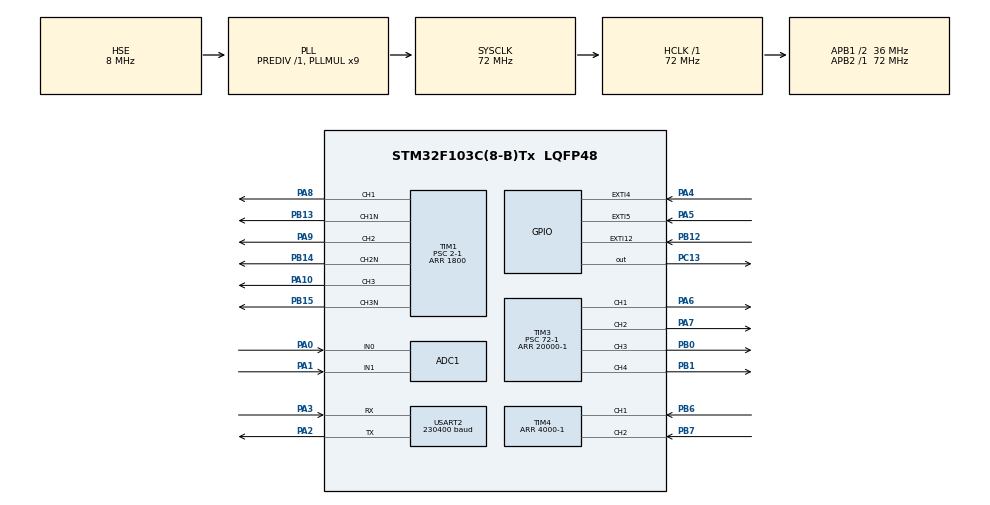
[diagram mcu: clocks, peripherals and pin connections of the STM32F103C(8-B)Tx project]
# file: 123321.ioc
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ADC1.Channel-0\#ChannelRegularConversion=ADC_CHANNEL_0
ADC1.Channel-1\#ChannelRegularConversion=ADC_CHANNEL_1
ADC1.DiscontinuousConvMode=ENABLE
ADC1.NbrOfConversion=2
ADC1.NbrOfConversionFlag=1
ADC1.Rank-0\#ChannelRegularConversion=1
ADC1.Rank-1\#ChannelRegularConversion=2
ADC1.SamplingTime-0\#ChannelRegularConversion=ADC_SAMPLETIME_239CYCLES_5
ADC1.SamplingTime-1\#ChannelRegularConversion=ADC_SAMPLETIME_239CYCLES_5
ADC1.master=1
Mcu.Family=STM32F1
Mcu.Name=STM32F103C(8-B)Tx
Mcu.Package=LQFP48
NVIC.EXTI15_10_IRQn=true\:0\:0\:false\:false\:true\:true\:true\:true
NVIC.EXTI4_IRQn=true\:0\:0\:false\:false\:true\:true\:true\:true
NVIC.EXTI9_5_IRQn=true\:0\:0\:false\:false\:true\:true\:true\:true
NVIC.PriorityGroup=NVIC_PRIORITYGROUP_4
NVIC.TIM2_IRQn=true\:0\:0\:false\:false\:true\:true\:true\:true
NVIC.TIM4_IRQn=true\:5\:0\:true\:false\:true\:true\:true\:true
NVIC.USART2_IRQn=true\:0\:0\:false\:false\:true\:true\:true\:true
PA0-WKUP.Signal=ADCx_IN0
PA1.Signal=ADCx_IN1
PA10.Signal=S_TIM1_CH3
PA13.Mode=Serial_Wire
PA13.Signal=SYS_JTMS-SWDIO
PA14.Mode=Serial_Wire
PA14.Signal=SYS_JTCK-SWCLK
PA2.Mode=Asynchronous
PA2.Signal=USART2_TX
PA3.Mode=Asynchronous
PA3.Signal=USART2_RX
PA4.GPIO_PuPd=GPIO_PULLUP
PA4.Signal=GPXTI4
PA5.GPIO_PuPd=GPIO_PULLUP
PA5.Signal=GPXTI5
PA6.Signal=S_TIM3_CH1
PA7.Signal=S_TIM3_CH2
PA8.Signal=S_TIM1_CH1
PA9.Signal=S_TIM1_CH2
PB0.Signal=S_TIM3_CH3
PB1.Signal=S_TIM3_CH4
PB12.GPIO_PuPd=GPIO_PULLUP
PB12.Signal=GPXTI12
PB13.Mode=PWM Generation1 CH1 CH1N
PB13.Signal=TIM1_CH1N
PB14.Mode=PWM Generation2 CH2 CH2N
PB14.Signal=TIM1_CH2N
PB15.Mode=PWM Generation3 CH3 CH3N
PB15.Signal=TIM1_CH3N
PB6.Signal=S_TIM4_CH1
PB7.Signal=S_TIM4_CH2
PC13-TAMPER-RTC.GPIO_Speed=GPIO_SPEED_FREQ_LOW
PC13-TAMPER-RTC.Signal=GPIO_Output
PC14-OSC32_IN.Mode=LSE-External-Oscillator
PC14-OSC32_IN.Signal=RCC_OSC32_IN
PC15-OSC32_OUT.Mode=LSE-External-Oscillator
PC15-OSC32_OUT.Signal=RCC_OSC32_OUT
PD0-OSC_IN.Mode=HSE-External-Oscillator
PD0-OSC_IN.Signal=RCC_OSC_IN
PD1-OSC_OUT.Mode=HSE-External-Oscillator
PD1-OSC_OUT.Signal=RCC_OSC_OUT
ProjectManager.HeapSize=0x200
ProjectManager.StackSize=0x400
ProjectManager.TargetToolchain=MDK-ARM V5.32
RCC.ADCPresc=RCC_ADCPCLK2_DIV6
RCC.AHBFreq_Value=72000000
RCC.APB1CLKDivider=RCC_HCLK_DIV2
RCC.APB1Freq_Value=36000000
RCC.APB1TimFreq_Value=72000000
RCC.APB2Freq_Value=72000000
RCC.APB2TimFreq_Value=72000000
RCC.FLatency=FLASH_LATENCY_2
RCC.HCLKFreq_Value=72000000
RCC.PLLMUL=RCC_PLL_MUL9
RCC.PLLSourceVirtual=RCC_PLLSOURCE_HSE
RCC.SYSCLKFreq_VALUE=72000000
RCC.SYSCLKSource=RCC_SYSCLKSOURCE_PLLCLK
RCC.USBFreq_Value=72000000
SH.ADCx_IN0.0=ADC1_IN0,IN0
SH.ADCx_IN1.0=ADC1_IN1,IN1
SH.S_TIM1_CH1.0=TIM1_CH1,PWM Generation1 CH1 CH1N
SH.S_TIM1_CH2.0=TIM1_CH2,PWM Generation2 CH2 CH2N
SH.S_TIM1_CH3.0=TIM1_CH3,PWM Generation3 CH3 CH3N
SH.S_TIM3_CH1.0=TIM3_CH1,PWM Generation1 CH1
SH.S_TIM3_CH2.0=TIM3_CH2,PWM Generation2 CH2
SH.S_TIM3_CH3.0=TIM3_CH3,PWM Generation3 CH3
SH.S_TIM3_CH4.0=TIM3_CH4,PWM Generation4 CH4
SH.S_TIM4_CH1.0=TIM4_CH1,Encoder_Interface
SH.S_TIM4_CH2.0=TIM4_CH2,Encoder_Interface
TIM1.AutoReloadPreload=TIM_AUTORELOAD_PRELOAD_ENABLE
TIM1.Channel-PWM\ Generation1\ CH1\ CH1N=TIM_CHANNEL_1
TIM1.Channel-PWM\ Generation2\ CH2\ CH2N=TIM_CHANNEL_2
TIM1.Channel-PWM\ Generation3\ CH3\ CH3N=TIM_CHANNEL_3
TIM1.CounterMode=TIM_COUNTERMODE_CENTERALIGNED1
TIM1.Period=1800
TIM1.Prescaler=2-1
TIM2.AutoReloadPreload=TIM_AUTORELOAD_PRELOAD_ENABLE
TIM2.Period=1000-1
TIM2.Prescaler=72-1
TIM3.AutoReloadPreload=TIM_AUTORELOAD_PRELOAD_ENABLE
TIM3.Channel-PWM\ Generation1\ CH1=TIM_CHANNEL_1
TIM3.Channel-PWM\ Generation2\ CH2=TIM_CHANNEL_2
TIM3.Channel-PWM\ Generation3\ CH3=TIM_CHANNEL_3
TIM3.Channel-PWM\ Generation4\ CH4=TIM_CHANNEL_4
TIM3.OCFastMode_PWM-PWM\ Generation1\ CH1=TIM_OCFAST_ENABLE
TIM3.OCFastMode_PWM-PWM\ Generation2\ CH2=TIM_OCFAST_ENABLE
TIM3.OCFastMode_PWM-PWM\ Generation4\ CH4=TIM_OCFAST_ENABLE
TIM3.Period=20000-1
TIM3.Prescaler=72-1
TIM4.EncoderMode=TIM_ENCODERMODE_TI12
TIM4.IC1Filter=1
TIM4.IC2Filter=1
TIM4.Period=4000-1
USART2.BaudRate=230400
USART2.VirtualMode=VM_ASYNC
VP_TIM1_VS_ClockSourceINT.Mode=Internal
VP_TIM2_VS_ClockSourceINT.Mode=Internal
VP_TIM3_VS_ClockSourceINT.Mode=Internal
board=custom

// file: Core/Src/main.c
/* USER CODE BEGIN Header */
/**
  ******************************************************************************
  * @file           : main.c
  * @brief          : Main program body
  ******************************************************************************
  * @attention
  *
  * Copyright (c) 2026 STMicroelectronics.
  * All rights reserved.
  *
  * This software is licensed under terms that can be found in the LICENSE file
  * in the root directory of this software component.
  * If no LICENSE file comes with this software, it is provided AS-IS.
  *
  ******************************************************************************
  */
/* USER CODE END Header */
#include "main.h"
#include "adc.h"
#include "tim.h"
#include "usart.h"
#include "gpio.h"

/* USER CODE BEGIN PV */
volatile uint32_t tim2_irq_count = 0;
volatile uint16_t adc_value[2] = {0};
volatile uint8_t pa5_level = 0;

/* USER CODE END PV */

void SystemClock_Config(void);

/* USER CODE BEGIN 0 */
int Encoder_Overflow_count=0;

void HAL_TIM_PeriodElapsedCallback(TIM_HandleTypeDef *htim) //?????????,????????
{
/* TIM4????????,TIM4???? */
	  if(htim-> Instance == TIM2){
              tim2_irq_count++;

			//suaiosda
		     }
    if(htim->Instance == TIM4)    //????TIM4
    {
        if((TIM4->CR1>>4&0x01)==0)   //????DIR?,????????????
        {
            Encoder_Overflow_count++;
        }
        else if((TIM4->CR1>>4&0x01)==1)
        {
            Encoder_Overflow_count--;
        }
    }
}

/* USER CODE END 0 */

int main(void)
{

  /* MCU Configuration--------------------------------------------------------*/

  /* Reset of all peripherals, Initializes the Flash interface and the Systick. */
  HAL_Init();

  /* Configure the system clock */
  SystemClock_Config();

  /* Initialize all configured peripherals */
  MX_GPIO_Init();
  MX_TIM3_Init();
  MX_TIM4_Init();
  MX_TIM2_Init();
  MX_TIM1_Init();
  MX_USART2_UART_Init();
  MX_ADC1_Init();
  /* USER CODE BEGIN 2 */
	HAL_TIM_PWM_Start(&htim1,TIM_CHANNEL_1);
	HAL_TIMEx_PWMN_Start(&htim1,TIM_CHANNEL_1);
	HAL_TIM_PWM_Start(&htim1,TIM_CHANNEL_2);
	HAL_TIMEx_PWMN_Start(&htim1,TIM_CHANNEL_2);
	HAL_TIM_PWM_Start(&htim1,TIM_CHANNEL_3);
	HAL_TIMEx_PWMN_Start(&htim1,TIM_CHANNEL_3);
	TIM1->CCR1= 280;
	TIM1->CCR2= 560;
	TIM1->CCR3= 1280;
	HAL_TIM_Encoder_Start_IT(&htim4,TIM_CHANNEL_ALL);
	__HAL_TIM_ENABLE_IT(&htim4,TIM_IT_UPDATE);
	HAL_TIM_PWM_Start(&htim3,TIM_CHANNEL_1);
	HAL_TIM_PWM_Start(&htim3,TIM_CHANNEL_2);
	HAL_TIM_PWM_Start(&htim3,TIM_CHANNEL_3);
	HAL_TIM_PWM_Start(&htim3,TIM_CHANNEL_4);
	 TIM3->CCR1 = 5000;
        TIM3->CCR2 = 10000;
        TIM3->CCR3 = 15000;
        TIM3->CCR4 = 19000;

	HAL_TIM_Base_Start_IT(&htim2);
	__HAL_TIM_ENABLE_IT(&htim2,TIM_IT_UPDATE);
	if (HAL_ADCEx_Calibration_Start(&hadc1) != HAL_OK)
{
    Error_Handler();
}

  /* USER CODE END 2 */

  /* Infinite loop */
  while (1)
  {

    /* USER CODE BEGIN 3 */
		uint8_t i;

for (i = 0; i < 2; i++)
{
    /* ????????? Rank */
    if (HAL_ADC_Start(&hadc1) != HAL_OK)
    {
        break;
    }

    if (HAL_ADC_PollForConversion(&hadc1, 100) != HAL_OK)
    {
        break;
    }

    adc_value[i] = (uint16_t)HAL_ADC_GetValue(&hadc1);
}

/* ?????????? */
HAL_ADC_Stop(&hadc1);
pa5_level = HAL_GPIO_ReadPin(GPIOA, GPIO_PIN_5);
		            HAL_GPIO_WritePin(GPIOC, GPIO_PIN_13, GPIO_PIN_RESET);
                HAL_Delay(800);
                HAL_GPIO_WritePin(GPIOC, GPIO_PIN_13, GPIO_PIN_SET);//??????
                HAL_Delay(800);
  }

  /* USER CODE END 3 */
}

void SystemClock_Config(void)
{
  RCC_OscInitTypeDef RCC_OscInitStruct = {0};
  RCC_ClkInitTypeDef RCC_ClkInitStruct = {0};
  RCC_PeriphCLKInitTypeDef PeriphClkInit = {0};

  /** Initializes the RCC Oscillators according to the specified parameters
  * in the RCC_OscInitTypeDef structure.
  */
  RCC_OscInitStruct.OscillatorType = RCC_OSCILLATORTYPE_HSE;
  RCC_OscInitStruct.HSEState = RCC_HSE_ON;
  RCC_OscInitStruct.HSEPredivValue = RCC_HSE_PREDIV_DIV1;
  RCC_OscInitStruct.HSIState = RCC_HSI_ON;
  RCC_OscInitStruct.PLL.PLLState = RCC_PLL_ON;
  RCC_OscInitStruct.PLL.PLLSource = RCC_PLLSOURCE_HSE;
  RCC_OscInitStruct.PLL.PLLMUL = RCC_PLL_MUL9;
  if (HAL_RCC_OscConfig(&RCC_OscInitStruct) != HAL_OK)
  {
    Error_Handler();
  }

  /** Initializes the CPU, AHB and APB buses clocks
  */
  RCC_ClkInitStruct.ClockType = RCC_CLOCKTYPE_HCLK|RCC_CLOCKTYPE_SYSCLK
                              |RCC_CLOCKTYPE_PCLK1|RCC_CLOCKTYPE_PCLK2;
  RCC_ClkInitStruct.SYSCLKSource = RCC_SYSCLKSOURCE_PLLCLK;
  RCC_ClkInitStruct.AHBCLKDivider = RCC_SYSCLK_DIV1;
  RCC_ClkInitStruct.APB1CLKDivider = RCC_HCLK_DIV2;
  RCC_ClkInitStruct.APB2CLKDivider = RCC_HCLK_DIV1;

  if (HAL_RCC_ClockConfig(&RCC_ClkInitStruct, FLASH_LATENCY_2) != HAL_OK)
  {
    Error_Handler();
  }
  PeriphClkInit.PeriphClockSelection = RCC_PERIPHCLK_ADC;
  PeriphClkInit.AdcClockSelection = RCC_ADCPCLK2_DIV6;
  if (HAL_RCCEx_PeriphCLKConfig(&PeriphClkInit) != HAL_OK)
  {
    Error_Handler();
  }
}

/* USER CODE BEGIN 4 */
void HAL_GPIO_EXTI_Callback(uint16_t GPIO_Pin)
{

        if(GPIO_Pin==GPIO_PIN_4)
        {
                if(HAL_GPIO_ReadPin(GPIOA,GPIO_PIN_4)==1) // ???
                {
                        HAL_GPIO_TogglePin(GPIOC,GPIO_PIN_13);
                }
        }

        if(GPIO_Pin==GPIO_PIN_5)
        {
                if(HAL_GPIO_ReadPin(GPIOA,GPIO_PIN_5)==1) // ???
                {
                        HAL_GPIO_TogglePin(GPIOC,GPIO_PIN_13);
                }
        }

        if(GPIO_Pin==GPIO_PIN_12)
        {
                if(HAL_GPIO_ReadPin(GPIOB,GPIO_PIN_12)==1) // ???
                {
                        HAL_GPIO_TogglePin(GPIOC,GPIO_PIN_13);
                }
        }
			}
/* USER CODE END 4 */

void Error_Handler(void)
{
  __disable_irq();
  while (1)
  {
  }
}
